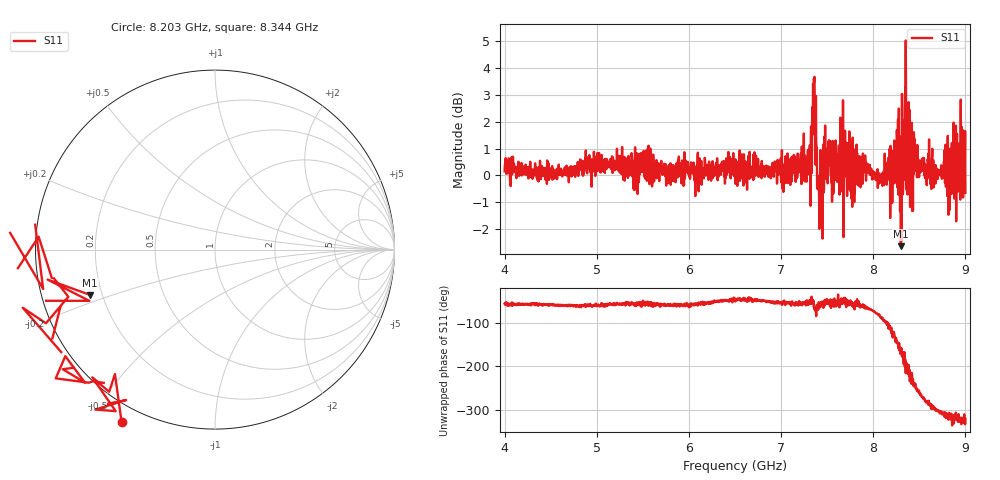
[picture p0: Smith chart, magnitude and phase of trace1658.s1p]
! Created with skrf 1.8.0 (http://scikit-rf.org).
# Hz S RI R 50.0
!freq ReS11 ImS11
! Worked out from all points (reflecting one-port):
!   1601 points, 4 GHz to 9 GHz, reference 50 ohm
!   lowest |S11| = -2.6 dB at 8.3 GHz (marker M1), VSWR 6.68, Z = 7.72 - j8.61 ohm
!   phase of S11 starts at -56 deg and turns -264 deg over the sweep
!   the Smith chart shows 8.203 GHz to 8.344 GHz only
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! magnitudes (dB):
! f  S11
! 4 GHz  0.2
! 4.625 GHz  0.0
! 5.25 GHz  0.1
! 5.875 GHz  0.5
! 6.5 GHz  0.6
! 7.125 GHz  0.4
! 7.294 GHz  0.4
! 7.319 GHz  -1.1
! 7.347 GHz  3.4
! 7.362 GHz  3.7
! 7.397 GHz  -0.5
! 7.425 GHz  0.3
! 7.478 GHz  1.9
! 7.591 GHz  1.3
! 7.65 GHz  1.9
! 7.75 GHz  0.7
! 7.894 GHz  0.5
! 8.094 GHz  -0.3
! 8.209 GHz  -0.1
! 8.262 GHz  -0.4
! 8.3 GHz  -2.6
! 8.316 GHz  1.1
! 8.334 GHz  1.2
! 8.375 GHz  1.3
! 8.425 GHz  -0.1
! 8.841 GHz  0.7
! 8.956 GHz  0.0
! 9 GHz  -0.6
